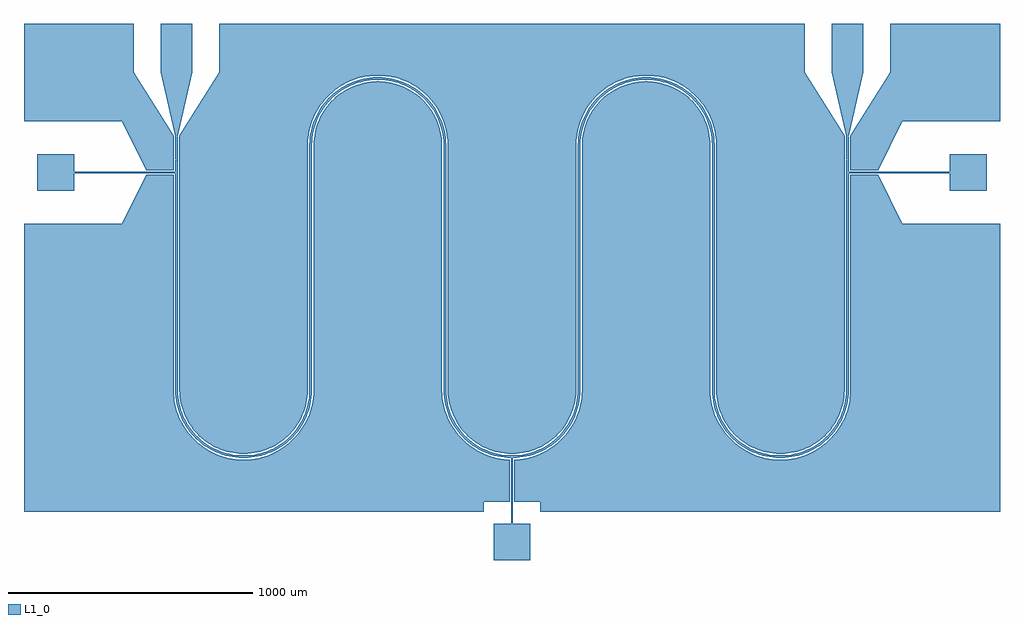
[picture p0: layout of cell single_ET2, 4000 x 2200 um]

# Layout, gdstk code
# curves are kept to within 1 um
import gdstk
lib = gdstk.Library(unit=1e-6, precision=1e-09)
def R(c, l, rs):  # rectangles x0, y0, x1, y1
    for r in rs: c.add(gdstk.rectangle(r[:2], r[2:], *l))
def P(c, l, *ps):  # polygons
    for p in ps: c.add(gdstk.Polygon(p, *l))
L1_0 = (1, 0)

single_et2 = lib.new_cell('single_ET2')
R(single_et2, L1_0, [(-75,-1100,75,-950), (-2.5,-950,2.5,-680), (-115,-860,-10,-735), (10,-860,115,-735), (-15,-735,-10,-686.7), (10,-735,15,-686.7)])
P(single_et2, L1_0, [(-1945,415),(-1945,565),(-1795,565),(-1795,492.5),(-1380,492.5),(-1380,487.5),(-1795,487.5),(-1795,415)],
  [(-1780,900),(-1780,925),(-1770,935),(-1745,935),(-1740,940),(-1740,955),(-1745,960),(-1765,960),(-1770,955),(-1770,950),(-1780,950),(-1780,960),(-1770,970),(-1740,970),(-1730,960),(-1730,935),(-1740,925),(-1765,925),(-1770,920),(-1770,910),(-1730,910),(-1730,900)],
  [(1795,415),(1795,487.5),(1380,487.5),(1380,492.5),(1795,492.5),(1795,565),(1945,565),(1945,415)],
  [(-30,-735),(-15,-710),(-15,-735)],
  [(-2000,-900),(-2000,280),(-1600,280),(-1500,480),(-1387.1,480),(-1387.1,-404.798),(-1383.225,-447.262),(-1373.088,-488.732),(-1362.956,-515.343),(-1350.239,-540.821),(-1335.061,-564.913),(-1317.571,-587.384),(-1297.942,-608.012),(-1276.366,-626.595),(-1253.055,-642.949),(-1228.24,-656.914),(-1202.163,-668.352),(-1175.082,-677.151),(-1147.262,-683.225),(-1118.977,-686.514),(-1095.202,-687.1),(-1066.84,-685.22),(-1038.753,-680.533),(-1011.268,-673.088),(-971.76,-656.914),(-946.945,-642.949),(-912.616,-617.571),(-882.429,-587.384),(-864.939,-564.913),(-843.086,-528.24),(-826.912,-488.732),(-816.775,-447.262),(-812.9,-404.798),(-812.9,604.297),(-811.175,630.365),(-806.883,656.084),(-800.065,681.251),(-790.788,705.619),(-779.143,728.949),(-757.492,761.497),(-740.476,781.254),(-721.587,799.229),(-690.152,822.467),(-667.429,835.255),(-643.55,845.729),(-606.084,856.883),(-580.365,861.175),(-545.703,862.9),(-519.635,861.175),(-481.248,853.786),(-456.45,845.729),(-421.051,829.143),(-388.503,807.492),(-368.746,790.476),(-342.508,761.497),(-327.533,740.152),(-314.745,717.429),(-304.271,693.55),(-296.214,668.752),(-290.652,643.277),(-287.641,617.377),(-287.1,-404.798),(-285.22,-433.16),(-280.533,-461.247),(-268.352,-502.163),(-250.239,-540.821),(-226.595,-576.366),(-208.012,-597.942),(-187.384,-617.571),(-164.913,-635.061),(-140.821,-650.239),(-102.163,-668.352),(-61.247,-680.533),(-15,-686.678),(-15,-710),(-30.179,-735),(-115,-735),(-115,-900)],
  [(-1820,900),(-1820,960),(-1840,960),(-1840,970),(-1790,970),(-1790,960),(-1810,960),(-1810,900)],
  [(115,-900),(115,-735),(30.179,-735),(15,-710),(15,-686.678),(61.247,-680.533),(102.163,-668.352),(140.821,-650.239),(176.366,-626.595),(208.012,-597.942),(226.595,-576.366),(242.949,-553.055),(262.956,-515.343),(277.151,-475.082),(283.225,-447.262),(287.1,-404.798),(287.1,604.297),(288.825,630.365),(293.117,656.084),(304.271,693.55),(314.745,717.429),(327.533,740.152),(342.508,761.497),(359.524,781.254),(378.413,799.229),(409.848,822.467),(432.571,835.255),(456.45,845.729),(493.916,856.883),(519.635,861.175),(545.703,862.9),(580.365,861.175),(606.084,856.883),(631.251,850.065),(655.619,840.788),(678.949,829.143),(711.497,807.492),(731.254,790.476),(749.229,771.587),(772.467,740.152),(785.255,717.429),(795.729,693.55),(803.786,668.752),(809.348,643.277),(812.9,604.297),(812.9,-404.798),(816.775,-447.262),(826.912,-488.732),(843.086,-528.24),(864.939,-564.913),(882.429,-587.384),(912.616,-617.571),(946.945,-642.949),(971.76,-656.914),(1011.268,-673.088),(1038.753,-680.533),(1066.84,-685.22),(1095.202,-687.1),(1118.977,-686.514),(1147.262,-683.225),(1175.082,-677.151),(1202.163,-668.352),(1228.24,-656.914),(1253.055,-642.949),(1276.366,-626.595),(1297.942,-608.012),(1317.571,-587.384),(1335.061,-564.913),(1350.239,-540.821),(1362.956,-515.343),(1373.088,-488.732),(1383.225,-447.262),(1387.1,-404.798),(1387.1,480),(1500,480),(1600,280),(2000,280),(2000,-900)],
  [(1387.1,500),(1387.1,640),(1550,900),(1550,1100),(2000,1100),(2000,700),(1600,700),(1500,500)],
  [(1370,543.3),(1370,640),(1310,900),(1310,1100),(1440,1100),(1440,900),(1380,640),(1373.35,640),(1373.35,543.3)],
  [(-1500,500),(-1600,700),(-2000,700),(-2000,1100),(-1550,1100),(-1550,900),(-1387.1,640),(-1387.1,500)],
  [(-1104.297,-662.9),(-1143.277,-659.348),(-1168.752,-653.786),(-1193.55,-645.729),(-1217.429,-635.255),(-1240.152,-622.467),(-1261.497,-607.492),(-1281.254,-590.476),(-1307.492,-561.497),(-1322.467,-540.152),(-1335.255,-517.429),(-1345.729,-493.55),(-1353.786,-468.752),(-1359.348,-443.277),(-1362.359,-417.377),(-1362.9,640),(-1200,900),(-1200,1100),(1200,1100),(1200,900),(1362.9,640),(1362.359,-417.377),(1359.348,-443.277),(1353.786,-468.752),(1345.729,-493.55),(1335.255,-517.429),(1322.467,-540.152),(1299.229,-571.587),(1281.254,-590.476),(1261.497,-607.492),(1240.152,-622.467),(1217.429,-635.255),(1193.55,-645.729),(1156.084,-656.883),(1130.365,-661.175),(1104.297,-662.9),(1069.635,-661.175),(1043.916,-656.883),(1006.45,-645.729),(982.571,-635.255),(959.848,-622.467),(938.503,-607.492),(918.746,-590.476),(900.771,-571.587),(877.533,-540.152),(864.745,-517.429),(854.271,-493.55),(843.117,-456.084),(838.825,-430.365),(837.1,-404.297),(837.1,604.798),(835.22,633.16),(830.533,661.247),(818.352,702.163),(800.239,740.821),(776.595,776.366),(758.012,797.942),(737.384,817.571),(714.913,835.061),(690.821,850.239),(652.163,868.352),(611.247,880.533),(583.16,885.22),(554.798,887.1),(531.023,886.514),(502.738,883.225),(461.268,873.088),(421.76,856.914),(396.945,842.949),(373.634,826.595),(341.988,797.942),(323.405,776.366),(307.051,753.055),(293.086,728.24),(281.648,702.163),(269.467,661.247),(264.78,633.16),(262.9,604.798),(262.9,-404.297),(261.175,-430.365),(256.883,-456.084),(245.729,-493.55),(235.255,-517.429),(222.467,-540.152),(199.229,-571.587),(181.254,-590.476),(161.497,-607.492),(140.152,-622.467),(117.429,-635.255),(93.55,-645.729),(56.084,-656.883),(30.365,-661.175),(-4.297,-662.9),(-30.365,-661.175),(-68.752,-653.786),(-93.55,-645.729),(-117.429,-635.255),(-140.152,-622.467),(-171.587,-599.229),(-190.476,-581.254),(-207.492,-561.497),(-222.467,-540.152),(-235.255,-517.429),(-245.729,-493.55),(-253.786,-468.752),(-259.348,-443.277),(-262.359,-417.377),(-262.9,604.798),(-266.775,647.262),(-272.849,675.082),(-287.044,715.343),(-307.051,753.055),(-323.405,776.366),(-341.988,797.942),(-373.634,826.595),(-396.945,842.949),(-421.76,856.914),(-461.268,873.088),(-502.738,883.225),(-531.023,886.514),(-554.798,887.1),(-597.262,883.225),(-638.732,873.088),(-678.24,856.914),(-714.913,835.061),(-747.942,808.012),(-776.595,776.366),(-800.239,740.821),(-818.352,702.163),(-830.533,661.247),(-835.22,633.16),(-837.1,604.798),(-837.1,-404.297),(-838.825,-430.365),(-843.117,-456.084),(-854.271,-493.55),(-864.745,-517.429),(-877.533,-540.152),(-900.771,-571.587),(-918.746,-590.476),(-938.503,-607.492),(-959.848,-622.467),(-982.571,-635.255),(-1018.749,-650.065),(-1056.723,-659.348),(-1082.623,-662.359)],
  [(15,-735),(15,-710),(30,-735)],
  [(-1380,543.3),(-1380,640),(-1440,900),(-1440,1100),(-1310,1100),(-1310,900),(-1370,640),(-1376.65,640),(-1376.65,543.3)],
  [(-1900,900),(-1900,970),(-1850,970),(-1850,960),(-1890,960),(-1890,940),(-1870,940),(-1870,930),(-1890,930),(-1890,910),(-1850,910),(-1850,900)],
  [(-1104.651,-680),(-1132.34,-678.165),(-1159.732,-673.595),(-1199.636,-661.715),(-1237.338,-644.05),(-1260.835,-629.247),(-1282.75,-612.19),(-1312.19,-582.75),(-1329.247,-560.835),(-1344.05,-537.338),(-1361.715,-499.636),(-1373.595,-459.732),(-1378.165,-432.34),(-1380,-404.651),(-1380,540),(-1373.35,540),(-1373.35,636.7),(-1370,636.7),(-1370,-404.444),(-1368.229,-431.185),(-1363.822,-457.599),(-1356.82,-483.446),(-1347.292,-508.472),(-1328.476,-543.938),(-1304.61,-576.222),(-1286.15,-595.621),(-1265.86,-613.096),(-1232.432,-635.332),(-1208.472,-647.292),(-1183.446,-656.82),(-1144.446,-666.353),(-1104.444,-670),(-1082.153,-669.446),(-1055.554,-666.353),(-1016.554,-656.82),(-991.528,-647.292),(-967.568,-635.332),(-934.14,-613.096),(-913.85,-595.621),(-895.39,-576.222),(-871.524,-543.938),(-852.708,-508.472),(-839.359,-470.609),(-831.771,-431.185),(-830,-404.444),(-830,604.651),(-828.165,632.34),(-823.595,659.732),(-811.715,699.636),(-794.05,737.338),(-779.247,760.835),(-762.19,782.75),(-732.75,812.19),(-699.27,836.94),(-675.068,850.559),(-649.636,861.715),(-623.225,870.296),(-596.093,876.22),(-568.508,879.427),(-531.492,879.427),(-503.907,876.22),(-476.775,870.296),(-450.364,861.715),(-424.932,850.559),(-400.73,836.94),(-377.996,820.99),(-356.954,802.867),(-337.81,782.75),(-320.753,760.835),(-305.95,737.338),(-293.548,712.49),(-283.667,686.537),(-276.405,659.732),(-271.835,632.34),(-270,604.651),(-270,-404.444),(-266.353,-444.446),(-256.82,-483.446),(-247.292,-508.472),(-235.332,-532.432),(-213.096,-565.86),(-186.15,-595.621),(-165.86,-613.096),(-143.938,-628.476),(-108.472,-647.292),(-70.609,-660.641),(-31.185,-668.229),(-4.444,-670),(17.847,-669.446),(57.599,-663.822),(83.446,-656.82),(108.472,-647.292),(143.938,-628.476),(176.222,-604.61),(195.621,-586.15),(213.096,-565.86),(235.332,-532.432),(252.366,-496.077),(263.822,-457.599),(268.229,-431.185),(270,-404.444),(270,604.651),(271.835,632.34),(276.405,659.732),(288.285,699.636),(305.95,737.338),(320.753,760.835),(337.81,782.75),(367.25,812.19),(389.165,829.247),(412.662,844.05),(450.364,861.715),(490.268,873.595),(531.492,879.427),(554.651,880),(582.34,878.165),(609.732,873.595),(636.537,866.333),(662.49,856.452),(687.338,844.05),(722.004,820.99),(743.046,802.867),(762.19,782.75),(786.94,749.27),(800.559,725.068),(811.715,699.636),(823.595,659.732),(828.165,632.34),(830,604.651),(830,-404.444),(831.771,-431.185),(836.178,-457.599),(843.18,-483.446),(858.391,-520.6),(871.524,-543.938),(886.904,-565.86),(904.379,-586.15),(934.14,-613.096),(956.062,-628.476),(991.528,-647.292),(1016.554,-656.82),(1055.554,-666.353),(1082.153,-669.446),(1117.847,-669.446),(1157.599,-663.822),(1183.446,-656.82),(1208.472,-647.292),(1243.938,-628.476),(1265.86,-613.096),(1286.15,-595.621),(1304.61,-576.222),(1321.058,-555.089),(1335.332,-532.432),(1347.292,-508.472),(1356.82,-483.446),(1363.822,-457.599),(1369.446,-417.847),(1370,540),(1376.65,540),(1376.65,636.7),(1380,636.7),(1379.427,-418.508),(1376.22,-446.093),(1370.296,-473.225),(1361.715,-499.636),(1350.559,-525.068),(1329.247,-560.835),(1312.19,-582.75),(1293.046,-602.867),(1260.835,-629.247),(1237.338,-644.05),(1212.49,-656.452),(1186.537,-666.333),(1159.732,-673.595),(1118.508,-679.427),(1081.492,-679.427),(1053.907,-676.22),(1026.775,-670.296),(1000.364,-661.715),(962.662,-644.05),(939.165,-629.247),(917.25,-612.19),(887.81,-582.75),(863.06,-549.27),(849.441,-525.068),(838.285,-499.636),(826.405,-459.732),(821.835,-432.34),(820,-404.651),(820,604.444),(818.229,631.185),(813.822,657.599),(806.82,683.446),(797.292,708.472),(778.476,743.938),(754.61,776.222),(736.15,795.621),(715.86,813.096),(682.432,835.332),(658.472,847.292),(633.446,856.82),(607.599,863.822),(581.185,868.229),(554.444,870),(532.153,869.446),(492.401,863.822),(466.554,856.82),(441.528,847.292),(406.062,828.476),(373.778,804.61),(345.39,776.222),(321.524,743.938),(302.708,708.472),(293.18,683.446),(286.178,657.599),(281.771,631.185),(280,604.444),(280,-404.651),(278.165,-432.34),(273.595,-459.732),(261.715,-499.636),(244.05,-537.338),(229.247,-560.835),(212.19,-582.75),(182.75,-612.19),(149.27,-636.94),(125.068,-650.559),(99.636,-661.715),(59.732,-673.595),(18.508,-679.427),(-5,-680),(-32.34,-678.165),(-73.225,-670.296),(-112.49,-656.452),(-149.27,-636.94),(-182.75,-612.19),(-212.19,-582.75),(-229.247,-560.835),(-244.05,-537.338),(-261.715,-499.636),(-273.595,-459.732),(-278.165,-432.34),(-280,-404.651),(-280,604.444),(-281.771,631.185),(-286.178,657.599),(-293.18,683.446),(-302.708,708.472),(-314.668,732.432),(-328.942,755.089),(-345.39,776.222),(-363.85,795.621),(-384.14,813.096),(-406.062,828.476),(-429.4,841.609),(-453.923,852.366),(-479.391,860.641),(-505.554,866.353),(-532.153,869.446),(-567.847,869.446),(-594.446,866.353),(-620.609,860.641),(-646.077,852.366),(-670.6,841.609),(-693.938,828.476),(-726.222,804.61),(-754.61,776.222),(-771.058,755.089),(-785.332,732.432),(-802.366,696.077),(-813.822,657.599),(-818.229,631.185),(-820,604.444),(-820,-404.651),(-823.78,-446.093),(-829.704,-473.225),(-843.548,-512.49),(-863.06,-549.27),(-887.81,-582.75),(-906.954,-602.867),(-927.996,-620.99),(-962.662,-644.05),(-987.51,-656.452),(-1013.463,-666.333),(-1053.907,-676.22),(-1081.492,-679.427)])

lib.write_gds('single_ET2.gds')
